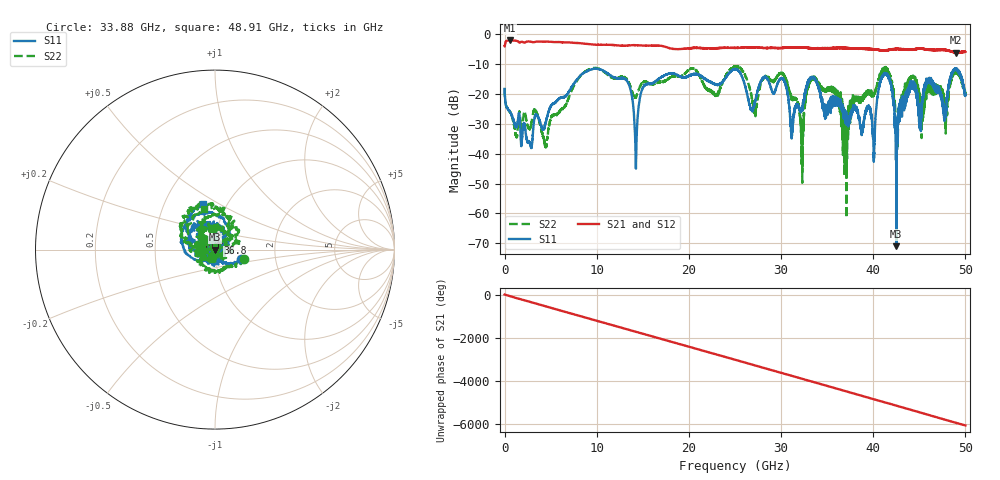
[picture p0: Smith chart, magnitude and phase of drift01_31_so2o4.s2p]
!Created with skrf (http://scikit-rf.org).
# Hz S RI R 50.0
!freq ReS11 ImS11 ReS21 ImS21 ReS12 ImS12 ReS22 ImS22
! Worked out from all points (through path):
!   10001 points, 300 kHz to 50 GHz, reference 50 ohm
!   highest |S21| = -2.00 dB at 570.3 MHz (marker M1); lowest = -6.1 dB at 48.98 GHz (marker M2)
!   group delay of S21, straight-line fit = 336 ps
!   lowest |S11| = -71.0 dB at 42.51 GHz (marker M3), VSWR 1.00, Z = 50 - j0.0226 ohm
!   |S11| at or under -10 dB: start of sweep to end of sweep
!   |S22| runs from -61.5 to -10.6 dB; largest |S21 - S12| = 0.018
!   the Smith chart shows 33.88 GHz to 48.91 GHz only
!   S11 on the Smith chart (normalised r, x): 33.88 GHz: 1.33, -0.14; 36.8 GHz: 1.03, +0.07; 48.91 GHz: 0.78, +0.42
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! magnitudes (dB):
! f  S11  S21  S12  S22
! 300 kHz  -18.3  -3.9  -4.0  -18.0
! 570.3 MHz  -25.9  -2.0  -2.0  -26.0
! 4.445 GHz  -29.7  -2.4  -2.4  -37.3
! 8.335 GHz  -13.5  -3.0  -3.0  -13.5
! 13.17 GHz  -15.1  -3.7  -3.7  -14.7
! 14.25 GHz  -43.9  -3.6  -3.6  -21.1
! 16.67 GHz  -14.9  -3.7  -3.7  -15.9
! 25 GHz  -11.6  -4.5  -4.6  -11.0
! 27.15 GHz  -22.6  -4.3  -4.3  -25.9
! 30.21 GHz  -15.1  -4.5  -4.5  -13.3
! 31.15 GHz  -33.5  -4.3  -4.4  -21.6
! 32.25 GHz  -25.1  -4.3  -4.4  -38.8
! 33.34 GHz  -14.3  -4.7  -4.6  -14.5
! 33.88 GHz  -16.2  -4.6  -4.6  -15.3
! 36.8 GHz  -28.1  -4.6  -4.4  -40.4
! 40.05 GHz  -40.5  -4.9  -4.9  -20.2
! 41.67 GHz  -14.2  -5.1  -5.1  -12.5
! 42.51 GHz  -71.0  -4.9  -4.9  -28.1
! 47.76 GHz  -26.2  -5.2  -5.2  -23.8
! 48.91 GHz  -11.7  -6.0  -6.0  -12.6
! 48.98 GHz  -11.6  -6.1  -6.0  -12.9
! 50 GHz  -20.0  -5.8  -5.8  -19.9
